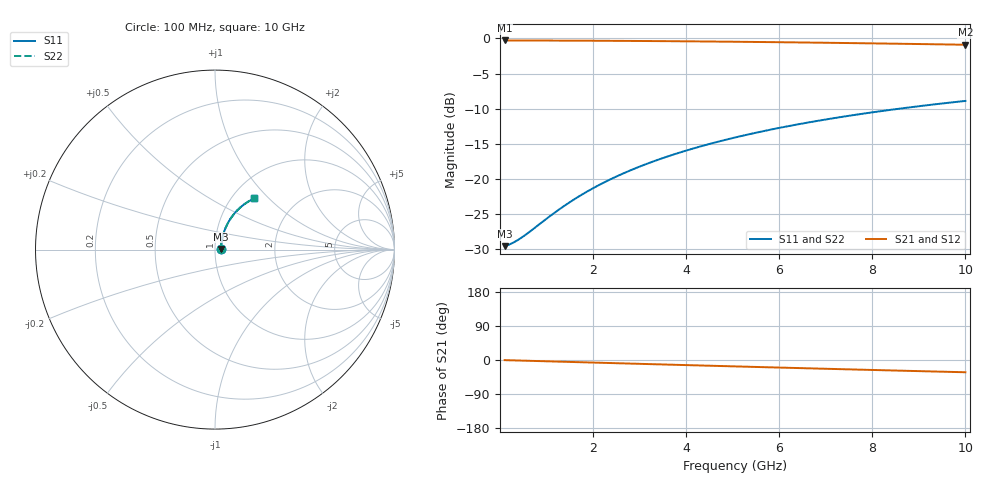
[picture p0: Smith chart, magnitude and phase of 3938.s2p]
# Hz S RI R 50.00
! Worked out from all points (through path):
!   100 points, 100 MHz to 10 GHz, reference 50 ohm
!   highest |S21| = -0.29 dB at 100 MHz (marker M1); lowest = -0.9 dB at 10 GHz (marker M2)
!   group delay of S21, straight-line fit = 9.01 ps
!   lowest |S11| = -29.6 dB at 100 MHz (marker M3), VSWR 1.07, Z = 53.4 + j0.402 ohm
!   |S11| at or under -10 dB: start of sweep to 8.586 GHz
!   |S22| runs from -29.6 to -8.9 dB; largest |S21 - S12| = 0
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1e8  0.033 0.00376  0.967 -0.00572  0.967 -0.00572  0.033 0.00376
2e8  0.0333 0.00752  0.9667 -0.0114  0.9667 -0.0114  0.0333 0.00752
3e8  0.0335 0.0113  0.9664 -0.0171  0.9664 -0.0171  0.0335 0.0113
4e8  0.0338 0.015  0.9661 -0.0228  0.9661 -0.0228  0.0338 0.015
6e8  0.0345 0.0225  0.9654 -0.0342  0.9654 -0.0342  0.0345 0.0225
1e9  0.0362 0.0374  0.9636 -0.057  0.9636 -0.057  0.0362 0.0374
1.3e9  0.0379 0.0485  0.9618 -0.074  0.9618 -0.074  0.0379 0.0485
1.5e9  0.0392 0.0559  0.9603 -0.0852  0.9603 -0.0852  0.0392 0.0559
1.8e9  0.0415 0.0669  0.9578 -0.1021  0.9578 -0.1021  0.0415 0.0669
2.1e9  0.0442 0.0777  0.9549 -0.1188  0.9549 -0.1188  0.0442 0.0777
2.5e9  0.0484 0.092  0.9504 -0.1409  0.9504 -0.1409  0.0484 0.092
2.9e9  0.0531 0.1061  0.9452 -0.1628  0.9452 -0.1628  0.0531 0.1061
3.4e9  0.06 0.1232  0.9377 -0.1898  0.9377 -0.1898  0.06 0.1232
3.8e9  0.0662 0.1366  0.931 -0.211  0.931 -0.211  0.0662 0.1366
4.2e9  0.0729 0.1495  0.9236 -0.2318  0.9236 -0.2318  0.0729 0.1495
4.6e9  0.0802 0.1621  0.9156 -0.2523  0.9156 -0.2523  0.0802 0.1621
5.1e9  0.0901 0.1773  0.9048 -0.2773  0.9048 -0.2773  0.0901 0.1773
5.9e9  0.1074 0.2002  0.8857 -0.316  0.8857 -0.316  0.1074 0.2002
6.7e9  0.1265 0.2211  0.8646 -0.3527  0.8646 -0.3527  0.1265 0.2211
7.5e9  0.1471 0.2399  0.8417 -0.3874  0.8417 -0.3874  0.1471 0.2399
8.4e9  0.1717 0.2586  0.8142 -0.424  0.8142 -0.424  0.1717 0.2586
1e10  0.2183 0.2849  0.7616 -0.4823  0.7616 -0.4823  0.2183 0.2849
